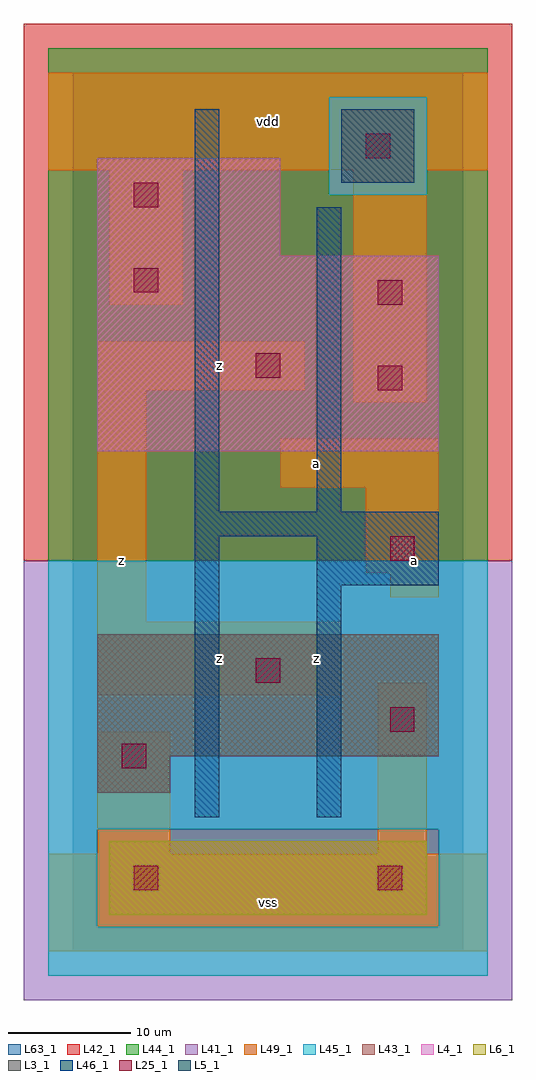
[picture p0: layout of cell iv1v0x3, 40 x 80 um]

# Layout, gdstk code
import gdstk
lib = gdstk.Library(unit=1e-6, precision=1e-09)
def R(c, l, rs):  # rectangles x0, y0, x1, y1
    for r in rs: c.add(gdstk.rectangle(r[:2], r[2:], *l))
L3_1 = (3, 1)
L4_1 = (4, 1)
L5_1 = (5, 1)
L6_1 = (6, 1)
L25_1 = (25, 1)
L41_1 = (41, 1)
L42_1 = (42, 1)
L43_1 = (43, 1)
L44_1 = (44, 1)
L45_1 = (45, 1)
L46_1 = (46, 1)
L49_1 = (49, 1)
L63_1 = (63, 1)

iv1v0x3 = lib.new_cell('iv1v0x3')
R(iv1v0x3, L3_1, [(2,13,8,16), (2,16,30,26)])
R(iv1v0x3, L4_1, [(2,41,30,57), (2,57,17,65)])
R(iv1v0x3, L5_1, [(22,63,28,69)])
R(iv1v0x3, L6_1, [(3,3,29,9), (3,3,29,9)])
R(iv1v0x3, L25_1, [(5,5,7,7), (25,5,27,7), (4,15,6,17), (26,18,28,20), (15,22,17,24), (26,32,28,34), (25,46,27,48), (15,47,17,49), (25,53,27,55), (5,54,7,56), (5,61,7,63), (24,65,26,67)])
R(iv1v0x3, L41_1, [(-4,-4,36,32)])
R(iv1v0x3, L42_1, [(-4,32,36,76)])
R(iv1v0x3, L43_1, [(3,3,29,9), (2,13,8,16), (2,16,30,26), (2,41,30,57), (2,57,17,65), (22,63,28,69)])
R(iv1v0x3, L44_1, [(2,2,30,10), (-2,32,34,62), (-2,62,21,70), (29,62,34,70), (-2,70,34,74)])
R(iv1v0x3, L45_1, [(-2,-2,34,2), (-2,2,2,10), (30,2,34,10), (-2,10,34,32), (21,62,29,70)])
R(iv1v0x3, L46_1, [(10,11,12,34), (20,11,22,30), (20,30,30,34), (10,34,30,36), (10,36,12,69), (20,36,22,61)])
R(iv1v0x3, L49_1, [(-2,0,34,8), (2,8,8,18), (25,8,29,22), (2,21,22,27), (2,27,6,46), (26,29,30,31), (24,31,30,38), (17,38,30,42), (23,45,29,64), (2,46,19,50), (3,53,9,64), (-2,64,34,72)])
R(iv1v0x3, L63_1, [(0,0,32,72)])
iv1v0x3.add(gdstk.Label('z', (4,32), layer=49, texttype=1))
iv1v0x3.add(gdstk.Label('z', (12,24), layer=49, texttype=1))
iv1v0x3.add(gdstk.Label('z', (12,48), layer=49, texttype=1))
iv1v0x3.add(gdstk.Label('vss', (16,4), layer=49, texttype=1))
iv1v0x3.add(gdstk.Label('z', (20,24), layer=49, texttype=1))
iv1v0x3.add(gdstk.Label('a', (20,40), layer=49, texttype=1))
iv1v0x3.add(gdstk.Label('vdd', (16,68), layer=49, texttype=1))
iv1v0x3.add(gdstk.Label('a', (28,32), layer=49, texttype=1))

lib.write_gds('iv1v0x3.gds')
